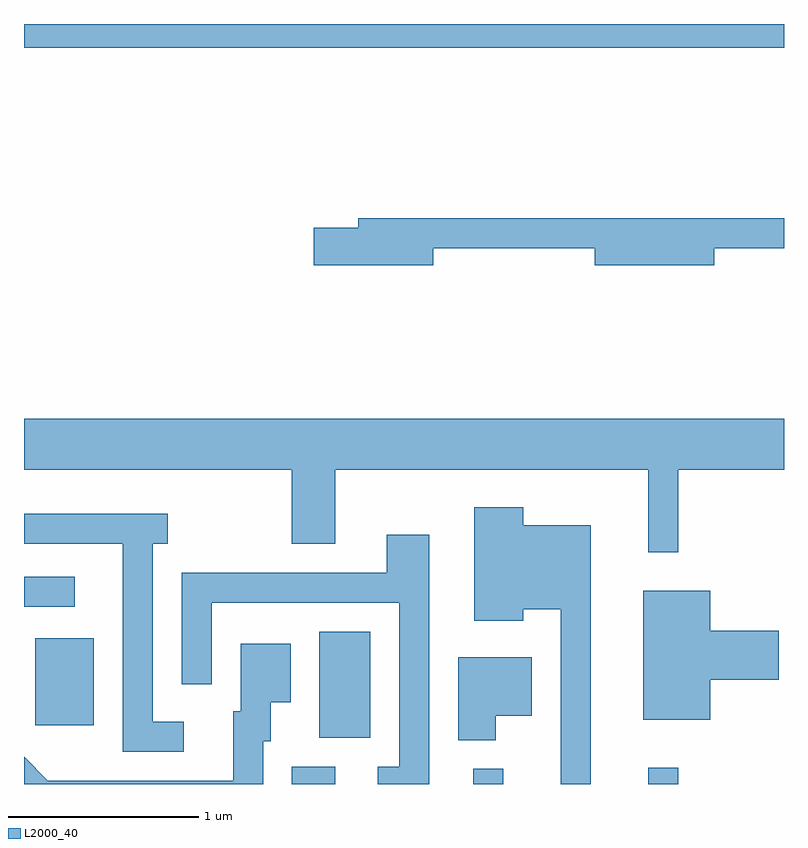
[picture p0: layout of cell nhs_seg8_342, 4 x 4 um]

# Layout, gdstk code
import gdstk
lib = gdstk.Library(unit=1e-6, precision=1e-09)
def R(c, l, rs):  # rectangles x0, y0, x1, y1
    for r in rs: c.add(gdstk.rectangle(r[:2], r[2:], *l))
def P(c, l, *ps):  # polygons
    for p in ps: c.add(gdstk.Polygon(p, *l))
L2000_40 = (2000, 40)

nhs_seg8_342 = lib.new_cell('nhs_seg8_342')
R(nhs_seg8_342, L2000_40, [(197.021,1810.342,197.249,1810.434), (197.976,1810.342,198.134,1810.423), (198.896,1810.342,199.054,1810.428), (197.166,1810.586,197.434,1811.144), (195.671,1810.651,195.979,1811.109), (195.611,1811.276,195.878,1811.434), (195.611,1814.216,199.611,1814.342)])
P(nhs_seg8_342, L2000_40, [(197.764,1813.161),(198.616,1813.161),(198.616,1813.071),(199.244,1813.071),(199.244,1813.161),(199.611,1813.161),(199.611,1813.319),(197.371,1813.319),(197.371,1813.269),(197.136,1813.269),(197.136,1813.071),(197.764,1813.071)],
  [(199.054,1811.996),(199.611,1811.996),(199.611,1812.264),(195.611,1812.264),(195.611,1811.996),(197.021,1811.996),(197.021,1811.606),(197.249,1811.606),(197.249,1811.996),(198.896,1811.996),(198.896,1811.563),(199.054,1811.563)],
  [(198.594,1811.704),(198.239,1811.704),(198.239,1811.799),(197.981,1811.799),(197.981,1811.201),(198.239,1811.201),(198.239,1811.261),(198.436,1811.261),(198.436,1810.342),(198.594,1810.342)],
  [(196.453,1810.669),(196.289,1810.669),(196.289,1811.606),(196.368,1811.606),(196.368,1811.764),(195.611,1811.764),(195.611,1811.606),(196.131,1811.606),(196.131,1810.511),(196.453,1810.511)],
  [(197.744,1811.654),(197.521,1811.654),(197.521,1811.454),(196.441,1811.454),(196.441,1810.868),(196.599,1810.868),(196.599,1811.296),(197.586,1811.296),(197.586,1810.434),(197.473,1810.434),(197.473,1810.342),(197.744,1810.342)],
  [(199.224,1810.891),(199.584,1810.891),(199.584,1811.149),(199.224,1811.149),(199.224,1811.359),(198.871,1811.359),(198.871,1810.681),(199.224,1810.681)],
  [(196.869,1810.566),(196.909,1810.566),(196.909,1810.771),(197.014,1810.771),(197.014,1811.079),(196.751,1811.079),(196.751,1810.724),(196.711,1810.724),(196.711,1810.359),(195.737,1810.359),(195.611,1810.485),(195.611,1810.342),(196.869,1810.342)],
  [(198.094,1810.701),(198.284,1810.701),(198.284,1811.009),(197.896,1811.009),(197.896,1810.571),(198.094,1810.571)])

lib.write_gds('nhs_seg8_342.gds')
